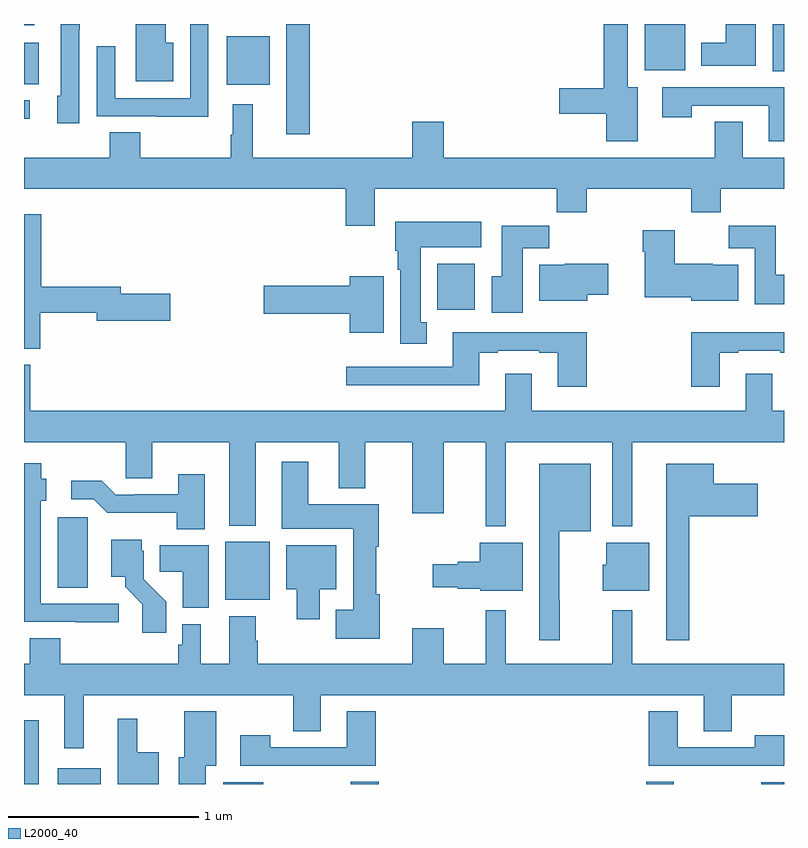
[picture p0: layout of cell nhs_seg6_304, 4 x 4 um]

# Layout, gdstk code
import gdstk
lib = gdstk.Library(unit=1e-6, precision=1e-09)
def R(c, l, rs):  # rectangles x0, y0, x1, y1
    for r in rs: c.add(gdstk.rectangle(r[:2], r[2:], *l))
def P(c, l, *ps):  # polygons
    for p in ps: c.add(gdstk.Polygon(p, *l))
L2000_40 = (2000, 40)

nhs_seg6_304 = lib.new_cell('nhs_seg6_304')
R(nhs_seg6_304, L2000_40, [(127,981.5,127.078,981.835), (127.178,981.5,127.405,981.583), (128.048,981.5,128.26,981.508), (128.72,981.5,128.867,981.512), (130.274,981.5,130.42,981.512), (130.88,981.5,131,981.508), (128.06,982.469,128.293,982.774), (127.178,982.534,127.336,982.905), (129.176,983.996,129.373,984.238), (128.381,984.921,128.503,985.5), (127,985.001,127.03,985.098), (128.066,985.181,128.293,985.435), (127,985.183,127.078,985.402), (130.94,985.252,131,985.5), (130.268,985.256,130.48,985.5), (127,985.494,127.054,985.5)])
P(nhs_seg6_304, L2000_40, [(127.29,985.471),(127.293,985.471),(127.293,985.5),(127.194,985.5),(127.194,985.122),(127.175,985.122),(127.175,984.978),(127.29,984.978)],
  [(130.231,985.168),(130.177,985.168),(130.177,985.5),(130.052,985.5),(130.052,985.163),(129.816,985.163),(129.816,985.028),(130.064,985.028),(130.064,984.882),(130.231,984.882)],
  [(127.971,985.5),(127.875,985.5),(127.875,985.11),(127.479,985.11),(127.479,985.384),(127.383,985.384),(127.383,985.014),(127.699,985.014),(127.699,985.013),(127.971,985.013)],
  [(130.852,985.5),(130.694,985.5),(130.694,985.402),(130.565,985.402),(130.565,985.28),(130.852,985.28)],
  [(127.786,985.402),(127.747,985.402),(127.747,985.5),(127.589,985.5),(127.589,985.199),(127.786,985.199)],
  [(131,985.167),(130.358,985.167),(130.358,985.008),(130.515,985.008),(130.515,985.071),(130.919,985.071),(130.919,984.882),(131,984.882)],
  [(128.845,984.632),(129.805,984.632),(129.805,984.508),(129.962,984.508),(129.962,984.632),(130.511,984.632),(130.511,984.508),(130.667,984.508),(130.667,984.632),(131,984.632),(131,984.796),(130.783,984.796),(130.783,984.986),(130.636,984.986),(130.636,984.796),(129.208,984.796),(129.208,984.985),(129.044,984.985),(129.044,984.796),(128.203,984.796),(128.203,985.078),(128.099,985.078),(128.099,984.917),(128.089,984.917),(128.089,984.796),(127.611,984.796),(127.611,984.929),(127.451,984.929),(127.451,984.796),(127,984.796),(127,984.632),(128.693,984.632),(128.693,984.438),(128.845,984.438)],
  [(127.086,983.98),(127.382,983.98),(127.382,983.938),(127.771,983.938),(127.771,984.08),(127.51,984.08),(127.51,984.116),(127.091,984.116),(127.091,984.499),(127,984.499),(127,983.792),(127.086,983.792)],
  [(129.121,983.93),(129.088,983.93),(129.088,984.326),(129.406,984.326),(129.406,984.46),(128.954,984.46),(128.954,984.306),(128.966,984.306),(128.966,984.206),(128.981,984.206),(128.981,983.817),(129.121,983.817)],
  [(129.625,984.32),(129.764,984.32),(129.764,984.439),(129.515,984.439),(129.515,984.172),(129.461,984.172),(129.461,983.979),(129.625,983.979)],
  [(131,984.18),(130.957,984.18),(130.957,984.439),(130.708,984.439),(130.708,984.32),(130.847,984.32),(130.847,984.024),(131,984.024)],
  [(130.759,984.232),(130.626,984.232),(130.626,984.238),(130.426,984.238),(130.426,984.415),(130.256,984.415),(130.256,984.302),(130.268,984.302),(130.268,984.062),(130.512,984.062),(130.512,984.044),(130.759,984.044)],
  [(129.964,984.074),(130.075,984.074),(130.075,984.238),(129.846,984.238),(129.846,984.232),(129.713,984.232),(129.713,984.044),(129.964,984.044)],
  [(128.893,984.172),(128.714,984.172),(128.714,984.122),(128.262,984.122),(128.262,983.975),(128.714,983.975),(128.714,983.876),(128.893,983.876)],
  [(129.962,983.878),(129.717,983.878),(129.717,983.877),(129.257,983.877),(129.257,983.697),(128.697,983.697),(128.697,983.6),(129.397,983.6),(129.397,983.769),(129.493,983.769),(129.493,983.781),(129.713,983.781),(129.713,983.769),(129.809,983.769),(129.809,983.592),(129.962,983.592)],
  [(130.663,983.769),(130.759,983.769),(130.759,983.781),(130.979,983.781),(130.979,983.769),(131,983.769),(131,983.878),(130.511,983.878),(130.511,983.592),(130.663,983.592)],
  [(129.535,983.3),(130.097,983.3),(130.097,982.856),(130.201,982.856),(130.201,983.3),(131,983.3),(131,983.464),(130.939,983.464),(130.939,983.659),(130.799,983.659),(130.799,983.464),(129.673,983.464),(129.673,983.659),(129.533,983.659),(129.533,983.464),(127.034,983.464),(127.034,983.707),(127,983.707),(127,983.3),(127.536,983.3),(127.536,983.11),(127.675,983.11),(127.675,983.3),(128.081,983.3),(128.081,982.859),(128.221,982.859),(128.221,983.3),(128.657,983.3),(128.657,983.057),(128.797,983.057),(128.797,983.3),(129.044,983.3),(129.044,982.926),(129.208,982.926),(129.208,983.3),(129.431,983.3),(129.431,982.856),(129.535,982.856)],
  [(128.872,982.498),(128.854,982.498),(128.854,982.748),(128.867,982.748),(128.867,982.972),(128.497,982.972),(128.497,983.197),(128.357,983.197),(128.357,982.844),(128.732,982.844),(128.732,982.417),(128.642,982.417),(128.642,982.265),(128.872,982.265)],
  [(127.498,982.449),(127.089,982.449),(127.089,982.992),(127.117,982.992),(127.117,983.106),(127.09,983.106),(127.09,983.188),(127,983.188),(127,982.353),(127.273,982.353),(127.273,982.351),(127.498,982.351)],
  [(129.82,982.469),(129.817,982.469),(129.817,982.829),(129.982,982.829),(129.982,983.185),(129.713,983.185),(129.713,982.257),(129.82,982.257)],
  [(130.501,982.91),(130.861,982.91),(130.861,983.08),(130.63,983.08),(130.63,983.185),(130.379,983.185),(130.379,982.257),(130.501,982.257)],
  [(127.951,983.131),(127.811,983.131),(127.811,983.025),(127.582,983.025),(127.582,983.022),(127.482,983.022),(127.409,983.095),(127.248,983.095),(127.248,982.998),(127.368,982.998),(127.439,982.928),(127.804,982.928),(127.804,982.841),(127.951,982.841)],
  [(127.748,982.458),(127.629,982.577),(127.629,982.728),(127.621,982.728),(127.621,982.786),(127.46,982.786),(127.46,982.592),(127.532,982.592),(127.532,982.537),(127.623,982.447),(127.623,982.296),(127.748,982.296)],
  [(129.625,982.771),(129.398,982.771),(129.398,982.67),(129.282,982.67),(129.282,982.657),(129.15,982.657),(129.15,982.535),(129.282,982.535),(129.282,982.528),(129.402,982.528),(129.402,982.517),(129.625,982.517)],
  [(130.291,982.771),(130.064,982.771),(130.064,982.653),(130.046,982.653),(130.046,982.517),(130.291,982.517)],
  [(127.972,982.756),(127.714,982.756),(127.714,982.618),(127.835,982.618),(127.835,982.427),(127.972,982.427)],
  [(128.557,982.526),(128.644,982.526),(128.644,982.756),(128.381,982.756),(128.381,982.526),(128.435,982.526),(128.435,982.368),(128.557,982.368)],
  [(128.229,982.253),(128.221,982.253),(128.221,982.384),(128.081,982.384),(128.081,982.132),(127.93,982.132),(127.93,982.342),(127.833,982.342),(127.833,982.233),(127.813,982.233),(127.813,982.132),(127.19,982.132),(127.19,982.268),(127.03,982.268),(127.03,982.132),(127,982.132),(127,981.968),(127.211,981.968),(127.211,981.687),(127.315,981.687),(127.315,981.968),(128.416,981.968),(128.416,981.778),(128.563,981.778),(128.563,981.968),(130.577,981.968),(130.577,981.778),(130.725,981.778),(130.725,981.968),(131,981.968),(131,982.132),(130.201,982.132),(130.201,982.414),(130.095,982.414),(130.095,982.132),(129.535,982.132),(129.535,982.414),(129.431,982.414),(129.431,982.132),(129.208,982.132),(129.208,982.321),(129.044,982.321),(129.044,982.132),(128.229,982.132)],
  [(131,981.757),(130.846,981.757),(130.846,981.693),(130.441,981.693),(130.441,981.883),(130.289,981.883),(130.289,981.597),(131,981.597)],
  [(128.852,981.883),(128.699,981.883),(128.699,981.693),(128.295,981.693),(128.295,981.757),(128.139,981.757),(128.139,981.597),(128.852,981.597)],
  [(127.957,981.596),(128.011,981.596),(128.011,981.883),(127.844,981.883),(127.844,981.64),(127.814,981.64),(127.814,981.5),(127.957,981.5)],
  [(127.708,981.667),(127.597,981.667),(127.597,981.844),(127.493,981.844),(127.493,981.5),(127.708,981.5)])

lib.write_gds('nhs_seg6_304.gds')
